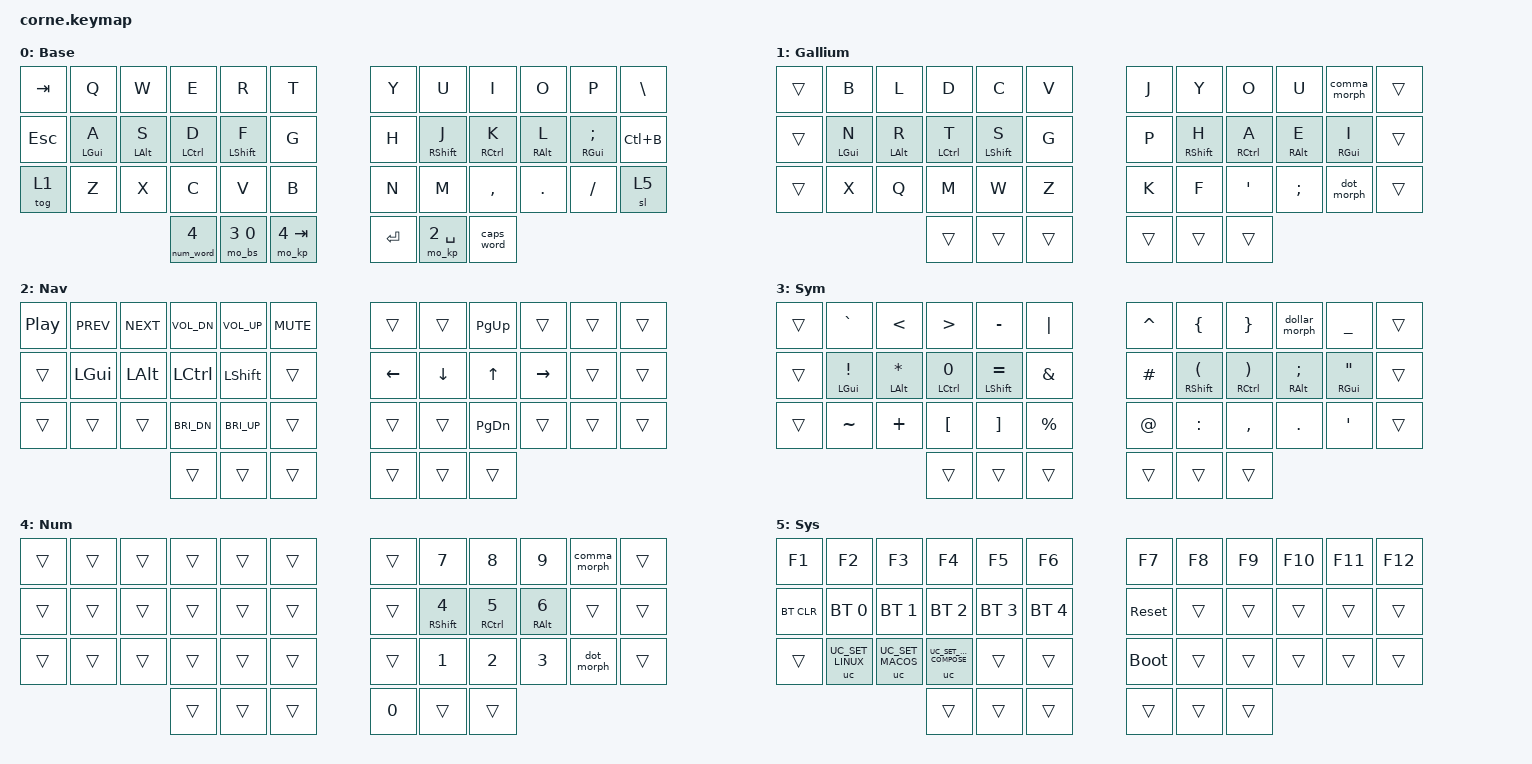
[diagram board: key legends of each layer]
/*
 * Copyright (c) 2020 The ZMK Contributors
 *
 * SPDX-License-Identifier: MIT
 */

#include <behaviors.dtsi>
#include <behaviors/unicode.dtsi>
#include <behaviors/num_word.dtsi>
#include <zmk-helpers/helper.h>
#include <zmk-helpers/key-labels/42.h>
#include <dt-bindings/zmk/bt.h>
#include <dt-bindings/zmk/keys.h>

#define BASE 0
#define GALLIUM 1
#define NAV 2
#define SYM 3
#define NUM 4
#define SYS 5

#include "combos.dtsi"

#define XXX  &none
#define ___  &trans
#define TMUX &kp LC(B)

// Initial system for the unicode behavior
&uc { default-mode = <UC_MODE_LINUX>; };

// Configure caps word behavior
&caps_word {
    continue-list = <BSPC UNDERSCORE MINUS>;
};

// Define mod-morph with a *single* mod trigger for less repetition
#define SIMPLE_MORPH(NAME, MOD, BINDING1, BINDING2)       \
  ZMK_MOD_MORPH(NAME, mods = <(MOD_L##MOD | MOD_R##MOD)>; \
                bindings = <BINDING1>, <BINDING2>;)

// Tap: comma | Shift + tap: semicolon
SIMPLE_MORPH(comma_morph, SFT, &kp COMMA, &kp SEMICOLON)

// Tap: dot | Shift + tap: colon
SIMPLE_MORPH(dot_morph, SFT, &kp DOT, &kp COLON)

// Tap: qmark | Shift + tap: excl
SIMPLE_MORPH(qexcl, SFT, &kp QMARK, &kp EXCL)

// Tap: backspace | Shft + tap: delete
SIMPLE_MORPH(bs_del, SFT, &kp BSPC, &kp DEL)

// Tap: dollar | Shft + tap: euro
SIMPLE_MORPH(dollar_morph, SFT, &kp DOLLAR, &uc UC_CURR_EURO)

// Tap: slash | Shft + tap: backslash
SIMPLE_MORPH(slash_morph, SFT, &kp SLASH, &kp BACKSLASH)

// Home row mods
#define KEYS_L LT0 LT1 LT2 LT3 LT4 LT5 LM0 LM1 LM2 LM3 LM4 LM5 LB0 LB1 LB2 LB3 LB4 LB5
#define KEYS_R RT0 RT1 RT2 RT3 RT4 RT5 RM0 RM1 RM2 RM3 RM4 RM5 RB0 RB1 RB2 RB3 RB4 RB5
#define THUMBS LH2 LH1 LH0 RH0 RH1 RH2

#define MAKE_HRM(NAME, HOLD, TAP, TRIGGER_POS) \
  ZMK_HOLD_TAP(NAME,                           \
               bindings = <HOLD>, <TAP>;       \
               flavor = "tap-preferred";       \
               tapping-term-ms = <280>;        \
               quick-tap-ms = <175>;           \
               require-prior-idle-ms = <150>;  \
               hold-trigger-on-release;        \
               hold-trigger-key-positions = <TRIGGER_POS>;)

MAKE_HRM(hml, &kp, &kp, KEYS_R THUMBS) // Left-hand HRMs
MAKE_HRM(hmr, &kp, &kp, KEYS_L THUMBS) // Right-hand HRMs

// Home row mods for the navigation layer
MAKE_HRM(hml_slash, &kp, &slash_morph, KEYS_R THUMBS)

ZMK_HOLD_TAP(mo_kp,
             bindings = <&mo>, <&kp>;
             flavor = "tap-preferred";
             tapping-term-ms = <280>;
             quick-tap-ms = <175>;
             require-prior-idle-ms = <150>;
             hold-trigger-on-release;)

ZMK_HOLD_TAP(mo_bs,
             bindings = <&mo>, <&bs_del>;
             flavor = "tap-preferred";
             tapping-term-ms = <280>;
             quick-tap-ms = <175>;
             require-prior-idle-ms = <150>;
             hold-trigger-on-release;)

// Base layer
ZMK_LAYER(Base,
     // ╭──────────────┬──────────────┬──────────────┬──────────────┬──────────────┬──────────────╮   ╭──────────────┬──────────────┬──────────────┬──────────────┬──────────────┬──────────────╮
          &kp TAB        &kp Q          &kp W          &kp E          &kp R          &kp T              &kp Y          &kp U          &kp I          &kp O          &kp P          &kp BACKSLASH
     // ├──────────────┼──────────────┼──────────────┼──────────────┼──────────────┼──────────────┤   ├──────────────┼──────────────┼──────────────┼──────────────┼──────────────┼──────────────┤
          &kp ESCAPE     &hml LGUI A    &hml LALT S    &hml LCTRL D   &hml LSHFT F   &kp G              &kp H          &hmr RSHFT J   &hmr RCTRL K   &hmr RALT L    &hmr RGUI SEMI TMUX
     // ├──────────────┼──────────────┼──────────────┼──────────────┼──────────────┼──────────────┤   ├──────────────┼──────────────┼──────────────┼──────────────┼──────────────┼──────────────┤
          &tog 1         &kp Z          &kp X          &kp C          &kp V          &kp B              &kp N          &kp M          &kp COMMA      &kp DOT        &kp FSLH       &sl 5
     // ╰──────────────┼──────────────┼──────────────┼──────────────┼──────────────┼──────────────┤   ├──────────────┼──────────────┼──────────────┼──────────────┼──────────────┼──────────────┤
                                                       &num_word 4    &mo_bs 3 0     &mo_kp 4 TAB       &kp RETURN     &mo_kp 2 SPACE &caps_word
     //                                              ╰──────────────┴──────────────┴──────────────╯   ╰──────────────┴──────────────┴──────────────╯
)

// Gallium layer
ZMK_LAYER(Gallium,
     // ╭──────────────┬──────────────┬──────────────┬──────────────┬──────────────┬──────────────╮   ╭──────────────┬──────────────┬──────────────┬──────────────┬──────────────┬──────────────╮
          ___            &kp B          &kp L          &kp D          &kp C          &kp V              &kp J          &kp Y          &kp O          &kp U          &comma_morph   ___
     // ├──────────────┼──────────────┼──────────────┼──────────────┼──────────────┼──────────────┤   ├──────────────┼──────────────┼──────────────┼──────────────┼──────────────┼──────────────┤
          ___            &hml LGUI N    &hml LALT R    &hml LCTRL T   &hml LSHFT S   &kp G              &kp P          &hmr RSHFT H   &hmr RCTRL A   &hmr RALT E    &hmr RGUI I    ___
     // ├──────────────┼──────────────┼──────────────┼──────────────┼──────────────┼──────────────┤   ├──────────────┼──────────────┼──────────────┼──────────────┼──────────────┼──────────────┤
          ___            &kp X          &kp Q          &kp M          &kp W          &kp Z              &kp K          &kp F          &kp APOS       &kp SEMI       &dot_morph     ___
     // ╰──────────────┼──────────────┼──────────────┼──────────────┼──────────────┼──────────────┤   ├──────────────┼──────────────┼──────────────┼──────────────┼──────────────┼──────────────┤
                                                       ___            ___            ___                ___            ___            ___
     //                                              ╰──────────────┴──────────────┴──────────────╯   ╰──────────────┴──────────────┴──────────────╯
)

// Navigation layer
ZMK_LAYER(Nav,
     // ╭──────────────┬──────────────┬──────────────┬──────────────┬──────────────┬──────────────╮   ╭──────────────┬──────────────┬──────────────┬──────────────┬──────────────┬──────────────╮
          &kp C_PP       &kp C_PREV     &kp C_NEXT     &kp C_VOL_DN   &kp C_VOL_UP   &kp C_MUTE         ___            ___            &kp PAGE_UP    ___            ___            ___
     // ├──────────────┼──────────────┼──────────────┼──────────────┼──────────────┼──────────────┤   ├──────────────┼──────────────┼──────────────┼──────────────┼──────────────┼──────────────┤
          ___            &kp LGUI       &kp LALT       &kp LCTRL      &kp LSHFT      ___                &kp LEFT       &kp DOWN       &kp  UP        &kp RIGHT      ___            ___
     // ├──────────────┼──────────────┼──────────────┼──────────────┼──────────────┼──────────────┤   ├──────────────┼──────────────┼──────────────┼──────────────┼──────────────┼──────────────┤
          ___            ___            ___            &kp C_BRI_DN   &kp C_BRI_UP   ___                ___            ___            &kp PAGE_DOWN  ___            ___            ___
     // ╰──────────────┼──────────────┼──────────────┼──────────────┼──────────────┼──────────────┤   ├──────────────┼──────────────┼──────────────┼──────────────┼──────────────┼──────────────┤
                                                       ___            ___            ___                ___            ___            ___
     //                                              ╰──────────────┴──────────────┴──────────────╯   ╰──────────────┴──────────────┴──────────────╯
)

// Symbol layer
ZMK_LAYER(Sym,
     // ╭──────────────┬──────────────┬──────────────┬──────────────┬──────────────┬──────────────╮   ╭──────────────┬──────────────┬──────────────┬──────────────┬──────────────┬──────────────╮
          ___            &kp GRAVE      &kp LT         &kp GT         &kp MINUS      &kp PIPE           &kp CARET      &kp LBRC       &kp RBRC       &dollar_morph  &kp UNDER      ___
     // ├──────────────┼──────────────┼──────────────┼──────────────┼──────────────┼──────────────┤   ├──────────────┼──────────────┼──────────────┼──────────────┼──────────────┼──────────────┤
          ___            &hml LGUI EXCL &hml LALT STAR &hml_slash LCTRL 0 &hml LSHFT EQUAL &kp AMPS     &kp HASH       &hmr RSHFT LPAR &hmr RCTRL RPAR &hmr RALT SEMI &hmr RGUI DQT ___
     // ├──────────────┼──────────────┼──────────────┼──────────────┼──────────────┼──────────────┤   ├──────────────┼──────────────┼──────────────┼──────────────┼──────────────┼──────────────┤
          ___            &kp TILDE      &kp PLUS       &kp LBKT       &kp RBKT       &kp PERCENT        &kp AT_SIGN    &kp COLON      &kp COMMA      &kp PERIOD     &kp SQT        ___
     // ╰──────────────┼──────────────┼──────────────┼──────────────┼──────────────┼──────────────┤   ├──────────────┼──────────────┼──────────────┼──────────────┼──────────────┼──────────────┤
                                                       ___            ___            ___                ___            ___            ___
     //                                              ╰──────────────┴──────────────┴──────────────╯   ╰──────────────┴──────────────┴──────────────╯
)

// Numerical layer
ZMK_LAYER(Num,
     // ╭──────────────┬──────────────┬──────────────┬──────────────┬──────────────┬──────────────╮   ╭──────────────┬──────────────┬──────────────┬──────────────┬──────────────┬──────────────╮
          ___            ___            ___            ___            ___            ___                ___            &kp N7         &kp N8         &kp N9         &comma_morph   ___
     // ├──────────────┼──────────────┼──────────────┼──────────────┼──────────────┼──────────────┤   ├──────────────┼──────────────┼──────────────┼──────────────┼──────────────┼──────────────┤
          ___            ___            ___            ___            ___            ___                ___            &hmr RSHFT N4  &hmr RCTRL N5  &hmr RALT N6   ___            ___
     // ├──────────────┼──────────────┼──────────────┼──────────────┼──────────────┼──────────────┤   ├──────────────┼──────────────┼──────────────┼──────────────┼──────────────┼──────────────┤
          ___            ___            ___            ___            ___            ___                ___            &kp N1         &kp N2         &kp N3         &dot_morph     ___
     // ╰──────────────┼──────────────┼──────────────┼──────────────┼──────────────┼──────────────┤   ├──────────────┼──────────────┼──────────────┼──────────────┼──────────────┼──────────────┤
                                                       ___            ___            ___                &kp N0         ___            ___
     //                                              ╰──────────────┴──────────────┴──────────────╯   ╰──────────────┴──────────────┴──────────────╯
)

// System layer
ZMK_LAYER(Sys,
     // ╭──────────────┬──────────────┬──────────────┬──────────────┬──────────────┬──────────────╮   ╭──────────────┬──────────────┬──────────────┬──────────────┬──────────────┬──────────────╮
          &kp F1         &kp F2         &kp F3         &kp F4         &kp F5         &kp F6             &kp F7         &kp F8         &kp F9         &kp F10        &kp F11        &kp F12
     // ├──────────────┼──────────────┼──────────────┼──────────────┼──────────────┼──────────────┤   ├──────────────┼──────────────┼──────────────┼──────────────┼──────────────┼──────────────┤
          &bt BT_CLR     &bt BT_SEL 0   &bt BT_SEL 1   &bt BT_SEL 2   &bt BT_SEL 3   &bt BT_SEL 4       &sys_reset     ___            ___            ___            ___            ___
     // ├──────────────┼──────────────┼──────────────┼──────────────┼──────────────┼──────────────┤   ├──────────────┼──────────────┼──────────────┼──────────────┼──────────────┼──────────────┤
          ___            &uc UC_SET_LINUX &uc UC_SET_MACOS &uc UC_SET_WIN_COMPOSE    ___ ___            &bootloader    ___            ___            ___            ___            ___
     // ╰──────────────┼──────────────┼──────────────┼──────────────┼──────────────┼──────────────┤   ├──────────────┼──────────────┼──────────────┼──────────────┼──────────────┼──────────────┤
                                                       ___            ___            ___                ___            ___            ___
     //                                              ╰──────────────┴──────────────┴──────────────╯   ╰──────────────┴──────────────┴──────────────╯
)
